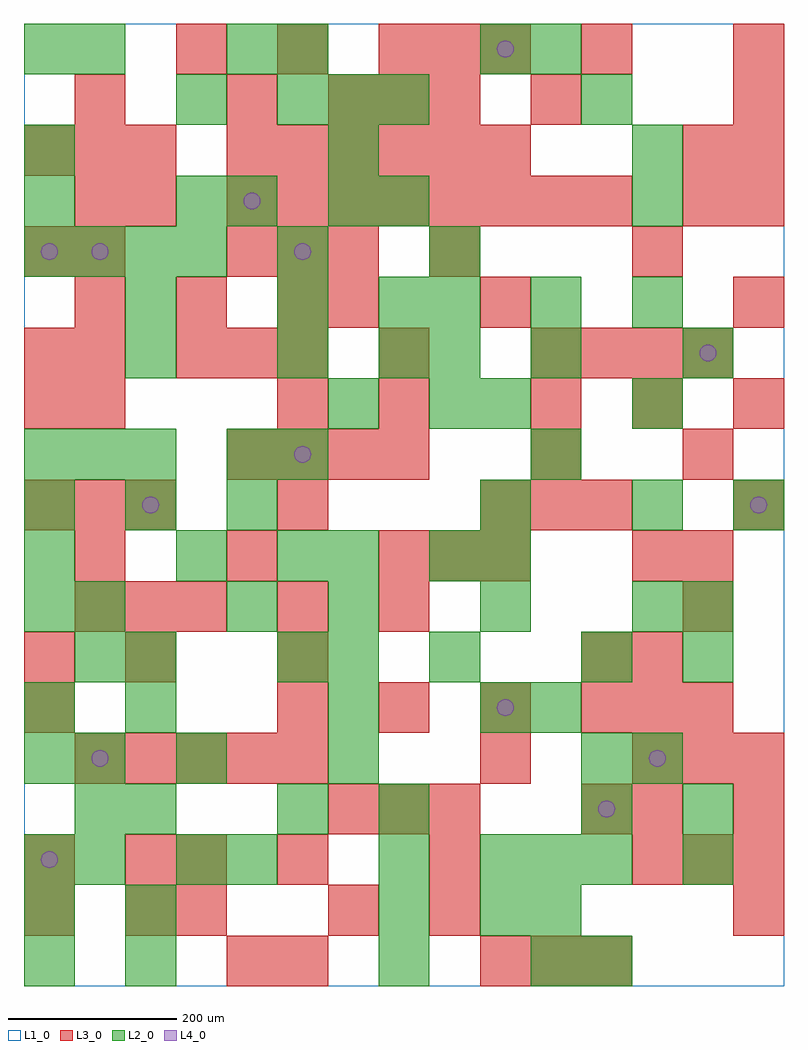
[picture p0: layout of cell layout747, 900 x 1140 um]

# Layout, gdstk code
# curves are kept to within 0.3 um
import gdstk
lib = gdstk.Library(unit=1e-6, precision=1e-09)
def R(c, l, rs):  # rectangles x0, y0, x1, y1
    for r in rs: c.add(gdstk.rectangle(r[:2], r[2:], *l))
def A(c, l, x, y, w, h, nx, ny, dx, dy):  # array of equal rectangles
    R(c, l, [(x+i*dx, y+j*dy, x+i*dx+w, y+j*dy+h) for i in range(nx) for j in range(ny)])
def P(c, l, *ps):  # polygons
    for p in ps: c.add(gdstk.Polygon(p, *l))
L1_0 = (1, 0)
L2_0 = (2, 0)
L3_0 = (3, 0)
L4_0 = (4, 0)

layout747 = lib.new_cell('layout747')
R(layout747, L1_0, [(0,0,900,1140)])
A(layout747, L2_0, 0, 0, 60, 60, 1, 3, 0, 60)
A(layout747, L2_0, 420, 0, 60, 60, 1, 4, 0, 60)
A(layout747, L2_0, 120, 60, 60, 60, 1, 3, 0, 120)
A(layout747, L2_0, 60, 120, 60, 60, 1, 3, 0, 60)
A(layout747, L2_0, 540, 120, 60, 60, 3, 1, 60, 0)
A(layout747, L2_0, 360, 240, 60, 60, 1, 3, 0, 60)
A(layout747, L2_0, 300, 360, 60, 60, 1, 4, 0, 120)
A(layout747, L2_0, 360, 420, 60, 60, 3, 1, 180, 0)
A(layout747, L2_0, 0, 540, 60, 60, 3, 1, 120, 0)
A(layout747, L2_0, 0, 600, 60, 60, 3, 1, 60, 0)
A(layout747, L2_0, 480, 780, 60, 60, 3, 1, 120, 0)
A(layout747, L2_0, 0, 840, 60, 60, 4, 1, 60, 0)
A(layout747, L2_0, 0, 960, 60, 60, 3, 1, 360, 0)
A(layout747, L2_0, 300, 1020, 60, 60, 3, 1, 60, 0)
R(layout747, L2_0, [(120,0,180,60), (600,0,660,60), (660,0,720,60), (540,60,600,120), (600,60,660,120), (180,120,240,180), (240,120,300,180), (780,120,840,180), (300,180,360,240), (660,180,720,240), (780,180,840,240), (0,240,60,300), (180,240,240,300), (660,240,720,300), (720,240,780,300), (0,300,60,360), (540,300,600,360), (600,300,660,360), (60,360,120,420), (120,360,180,420), (480,360,540,420), (660,360,720,420), (780,360,840,420), (0,420,60,480), (60,420,120,480), (240,420,300,480), (780,420,840,480), (0,480,60,540), (180,480,240,540), (360,480,420,540), (480,480,540,540), (540,480,600,540), (540,540,600,600), (720,540,780,600), (840,540,900,600), (240,600,300,660), (600,600,660,660), (360,660,420,720), (480,660,540,720), (540,660,600,720), (720,660,780,720), (120,720,180,780), (420,720,480,780), (480,720,540,780), (600,720,660,780), (780,720,840,780), (120,780,180,840), (300,780,360,840), (420,780,480,840), (300,840,360,900), (480,840,540,900), (0,900,60,960), (180,900,240,960), (240,900,300,960), (360,900,420,960), (420,900,480,960), (720,900,780,960), (180,1020,240,1080), (660,1020,720,1080), (0,1080,60,1140), (60,1080,120,1140), (240,1080,300,1140), (300,1080,360,1140), (540,1080,600,1140), (600,1080,660,1140)])
A(layout747, L3_0, 540, 0, 60, 60, 3, 2, 60, 540)
A(layout747, L3_0, 480, 120, 60, 60, 1, 3, 0, 360)
A(layout747, L3_0, 720, 120, 60, 60, 3, 2, 60, 120)
A(layout747, L3_0, 360, 180, 60, 60, 3, 2, 60, 840)
A(layout747, L3_0, 60, 240, 60, 60, 5, 1, 60, 0)
A(layout747, L3_0, 300, 300, 60, 60, 4, 1, 120, 0)
A(layout747, L3_0, 60, 420, 60, 60, 3, 1, 60, 0)
A(layout747, L3_0, 300, 420, 60, 60, 1, 3, 0, 120)
A(layout747, L3_0, 60, 480, 60, 60, 3, 1, 180, 0)
A(layout747, L3_0, 540, 480, 60, 60, 1, 3, 0, 300)
A(layout747, L3_0, 0, 540, 60, 60, 3, 2, 60, 420)
A(layout747, L3_0, 240, 600, 60, 60, 4, 1, 60, 0)
A(layout747, L3_0, 600, 660, 60, 60, 3, 1, 120, 0)
A(layout747, L3_0, 180, 720, 60, 60, 3, 1, 60, 0)
A(layout747, L3_0, 600, 720, 60, 60, 4, 1, 60, 0)
A(layout747, L3_0, 60, 780, 60, 60, 3, 1, 120, 0)
A(layout747, L3_0, 240, 840, 60, 60, 3, 1, 60, 0)
A(layout747, L3_0, 240, 900, 60, 60, 8, 1, 60, 0)
A(layout747, L3_0, 840, 900, 60, 60, 1, 4, 0, 60)
A(layout747, L3_0, 240, 960, 60, 60, 6, 1, 60, 0)
A(layout747, L3_0, 180, 1080, 60, 60, 3, 1, 120, 0)
R(layout747, L3_0, [(240,0,300,60), (300,0,360,60), (0,60,60,120), (120,60,180,120), (180,60,240,120), (360,60,420,120), (480,60,540,120), (840,60,900,120), (0,120,60,180), (120,120,180,180), (180,120,240,180), (300,120,360,180), (660,180,720,240), (720,180,780,240), (840,180,900,240), (540,240,600,300), (0,300,60,360), (720,300,780,360), (780,300,840,360), (0,360,60,420), (120,360,180,420), (300,360,360,420), (660,360,720,420), (720,360,780,420), (420,420,480,480), (780,420,840,480), (720,480,780,540), (780,480,840,540), (840,540,900,600), (600,600,660,660), (780,600,840,660), (0,660,60,720), (60,660,120,720), (420,660,480,720), (0,720,60,780), (60,720,120,780), (420,720,480,780), (360,780,420,840), (840,780,900,840), (0,840,60,900), (60,840,120,900), (720,840,780,900), (60,900,120,960), (120,900,180,960), (780,900,840,960), (780,960,840,1020), (60,1020,120,1080), (240,1020,300,1080), (600,1020,660,1080), (480,1080,540,1140), (660,1080,720,1140)])
P(layout747, L4_0, [(40,150),(39.239,153.827),(37.071,157.071),(33.827,159.239),(30,160),(26.173,159.239),(22.929,157.071),(20.761,153.827),(20,150),(20.761,146.173),(22.929,142.929),(26.173,140.761),(30,140),(33.827,140.761),(37.071,142.929),(39.239,146.173)],
  [(40,870),(39.239,873.827),(37.071,877.071),(33.827,879.239),(30,880),(26.173,879.239),(22.929,877.071),(20.761,873.827),(20,870),(20.761,866.173),(22.929,862.929),(26.173,860.761),(30,860),(33.827,860.761),(37.071,862.929),(39.239,866.173)],
  [(100,270),(99.239,273.827),(97.071,277.071),(93.827,279.239),(90,280),(86.173,279.239),(82.929,277.071),(80.761,273.827),(80,270),(80.761,266.173),(82.929,262.929),(86.173,260.761),(90,260),(93.827,260.761),(97.071,262.929),(99.239,266.173)],
  [(100,870),(99.239,873.827),(97.071,877.071),(93.827,879.239),(90,880),(86.173,879.239),(82.929,877.071),(80.761,873.827),(80,870),(80.761,866.173),(82.929,862.929),(86.173,860.761),(90,860),(93.827,860.761),(97.071,862.929),(99.239,866.173)],
  [(160,570),(159.239,573.827),(157.071,577.071),(153.827,579.239),(150,580),(146.173,579.239),(142.929,577.071),(140.761,573.827),(140,570),(140.761,566.173),(142.929,562.929),(146.173,560.761),(150,560),(153.827,560.761),(157.071,562.929),(159.239,566.173)],
  [(280,930),(279.239,933.827),(277.071,937.071),(273.827,939.239),(270,940),(266.173,939.239),(262.929,937.071),(260.761,933.827),(260,930),(260.761,926.173),(262.929,922.929),(266.173,920.761),(270,920),(273.827,920.761),(277.071,922.929),(279.239,926.173)],
  [(340,630),(339.239,633.827),(337.071,637.071),(333.827,639.239),(330,640),(326.173,639.239),(322.929,637.071),(320.761,633.827),(320,630),(320.761,626.173),(322.929,622.929),(326.173,620.761),(330,620),(333.827,620.761),(337.071,622.929),(339.239,626.173)],
  [(340,870),(339.239,873.827),(337.071,877.071),(333.827,879.239),(330,880),(326.173,879.239),(322.929,877.071),(320.761,873.827),(320,870),(320.761,866.173),(322.929,862.929),(326.173,860.761),(330,860),(333.827,860.761),(337.071,862.929),(339.239,866.173)],
  [(580,330),(579.239,333.827),(577.071,337.071),(573.827,339.239),(570,340),(566.173,339.239),(562.929,337.071),(560.761,333.827),(560,330),(560.761,326.173),(562.929,322.929),(566.173,320.761),(570,320),(573.827,320.761),(577.071,322.929),(579.239,326.173)],
  [(580,1110),(579.239,1113.827),(577.071,1117.071),(573.827,1119.239),(570,1120),(566.173,1119.239),(562.929,1117.071),(560.761,1113.827),(560,1110),(560.761,1106.173),(562.929,1102.929),(566.173,1100.761),(570,1100),(573.827,1100.761),(577.071,1102.929),(579.239,1106.173)],
  [(700,210),(699.239,213.827),(697.071,217.071),(693.827,219.239),(690,220),(686.173,219.239),(682.929,217.071),(680.761,213.827),(680,210),(680.761,206.173),(682.929,202.929),(686.173,200.761),(690,200),(693.827,200.761),(697.071,202.929),(699.239,206.173)],
  [(760,270),(759.239,273.827),(757.071,277.071),(753.827,279.239),(750,280),(746.173,279.239),(742.929,277.071),(740.761,273.827),(740,270),(740.761,266.173),(742.929,262.929),(746.173,260.761),(750,260),(753.827,260.761),(757.071,262.929),(759.239,266.173)],
  [(820,750),(819.239,753.827),(817.071,757.071),(813.827,759.239),(810,760),(806.173,759.239),(802.929,757.071),(800.761,753.827),(800,750),(800.761,746.173),(802.929,742.929),(806.173,740.761),(810,740),(813.827,740.761),(817.071,742.929),(819.239,746.173)],
  [(880,570),(879.239,573.827),(877.071,577.071),(873.827,579.239),(870,580),(866.173,579.239),(862.929,577.071),(860.761,573.827),(860,570),(860.761,566.173),(862.929,562.929),(866.173,560.761),(870,560),(873.827,560.761),(877.071,562.929),(879.239,566.173)])

lib.write_gds('layout747.gds')
